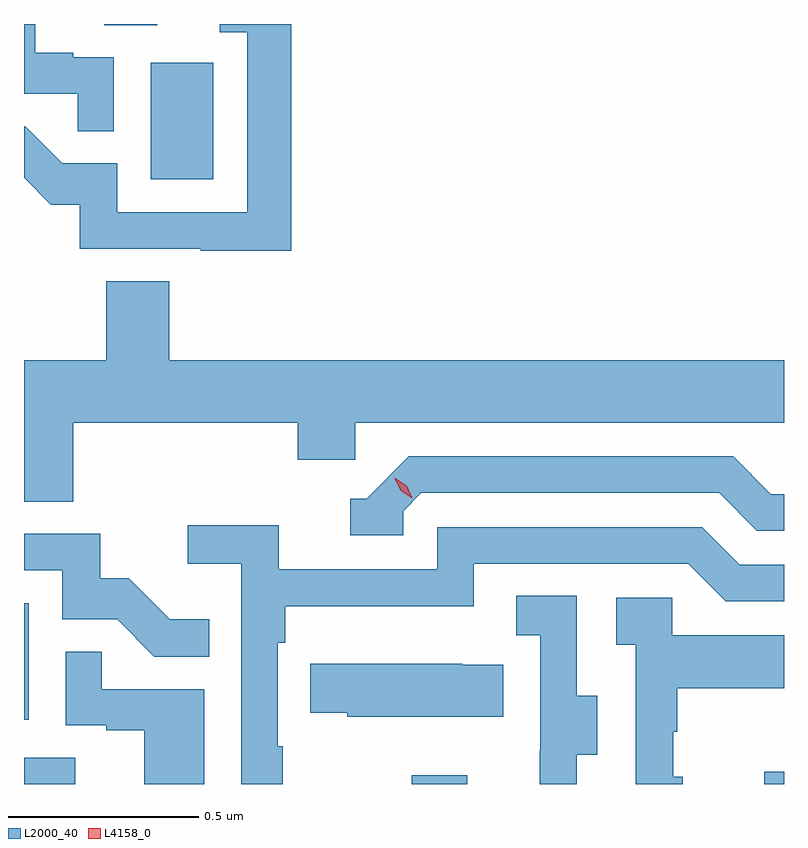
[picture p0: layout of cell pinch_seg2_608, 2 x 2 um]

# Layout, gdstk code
import gdstk
lib = gdstk.Library(unit=1e-6, precision=1e-09)
def R(c, l, rs):  # rectangles x0, y0, x1, y1
    for r in rs: c.add(gdstk.rectangle(r[:2], r[2:], *l))
def P(c, l, *ps):  # polygons
    for p in ps: c.add(gdstk.Polygon(p, *l))
L2000_40 = (2000, 40)
L4158_0 = (4158, 0)

pinch_seg2_608 = lib.new_cell('pinch_seg2_608')
R(pinch_seg2_608, L2000_40, [(1058.134,620.045,1058.269,620.114), (1059.154,620.045,1059.301,620.068), (1060.082,620.045,1060.134,620.077), (1058.134,620.214,1058.146,620.521), (1058.468,621.636,1058.632,621.943), (1058.345,622.042,1058.485,622.045)])
P(pinch_seg2_608, L2000_40, [(1058.837,622.045),(1058.649,622.045),(1058.649,622.023),(1058.721,622.023),(1058.721,621.549),(1058.379,621.549),(1058.379,621.678),(1058.235,621.678),(1058.137,621.776),(1058.134,621.776),(1058.134,621.64),(1058.204,621.57),(1058.281,621.57),(1058.281,621.453),(1058.599,621.453),(1058.599,621.448),(1058.837,621.448)],
  [(1058.37,621.957),(1058.264,621.957),(1058.264,621.97),(1058.164,621.97),(1058.164,622.045),(1058.134,622.045),(1058.134,621.861),(1058.275,621.861),(1058.275,621.763),(1058.37,621.763)],
  [(1058.264,620.996),(1058.855,620.996),(1058.855,620.898),(1059.006,620.898),(1059.006,620.996),(1060.134,620.996),(1060.134,621.16),(1058.516,621.16),(1058.516,621.368),(1058.351,621.368),(1058.351,621.16),(1058.134,621.16),(1058.134,620.788),(1058.264,620.788)],
  [(1059.132,620.763),(1059.18,620.811),(1059.963,620.811),(1060.062,620.712),(1060.134,620.712),(1060.134,620.808),(1060.099,620.808),(1060,620.907),(1059.147,620.907),(1059.036,620.796),(1058.993,620.796),(1058.993,620.7),(1059.132,620.7)],
  [(1058.815,620.144),(1058.802,620.144),(1058.802,620.417),(1058.822,620.417),(1058.822,620.513),(1059.318,620.513),(1059.318,620.625),(1059.882,620.625),(1059.981,620.526),(1060.134,620.526),(1060.134,620.622),(1060.018,620.622),(1059.919,620.721),(1059.222,620.721),(1059.222,620.61),(1058.804,620.61),(1058.804,620.726),(1058.565,620.726),(1058.565,620.624),(1058.706,620.624),(1058.706,620.045),(1058.815,620.045)],
  [(1058.621,620.479),(1058.517,620.479),(1058.41,620.586),(1058.334,620.586),(1058.334,620.703),(1058.134,620.703),(1058.134,620.607),(1058.235,620.607),(1058.235,620.478),(1058.379,620.478),(1058.477,620.38),(1058.621,620.38)],
  [(1059.589,620.122),(1059.643,620.122),(1059.643,620.277),(1059.588,620.277),(1059.588,620.54),(1059.429,620.54),(1059.429,620.437),(1059.492,620.437),(1059.492,620.133),(1059.491,620.133),(1059.491,620.045),(1059.589,620.045)],
  [(1059.868,620.064),(1059.843,620.064),(1059.843,620.183),(1059.853,620.183),(1059.853,620.297),(1060.134,620.297),(1060.134,620.437),(1059.84,620.437),(1059.84,620.535),(1059.693,620.535),(1059.693,620.411),(1059.744,620.411),(1059.744,620.045),(1059.868,620.045)],
  [(1058.608,620.295),(1058.339,620.295),(1058.339,620.393),(1058.244,620.393),(1058.244,620.199),(1058.351,620.199),(1058.351,620.187),(1058.45,620.187),(1058.45,620.045),(1058.608,620.045)],
  [(1059.395,620.359),(1059.287,620.359),(1059.287,620.362),(1058.887,620.362),(1058.887,620.233),(1058.985,620.233),(1058.985,620.222),(1059.395,620.222)])
P(pinch_seg2_608, L4158_0, [(1059.156,620.797),(1059.126,620.817),(1059.11,620.85),(1059.11,620.85),(1059.111,620.85),(1059.141,620.83),(1059.156,620.797),(1059.156,620.797)])

lib.write_gds('pinch_seg2_608.gds')
